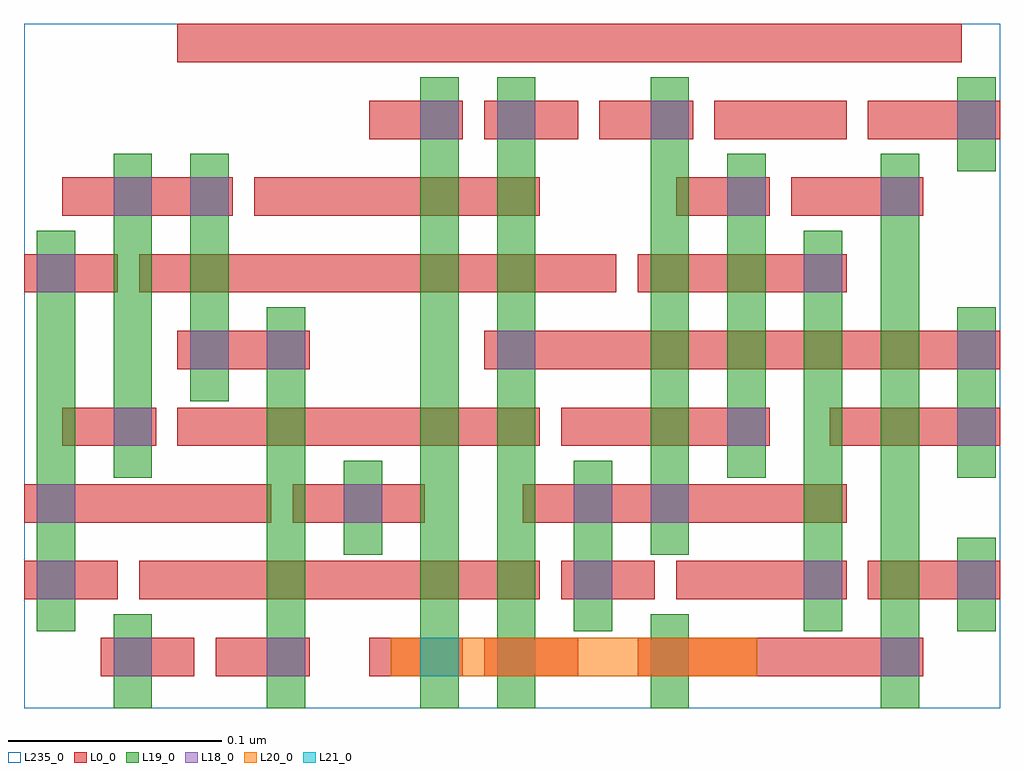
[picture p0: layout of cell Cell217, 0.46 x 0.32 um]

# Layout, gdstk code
import gdstk
lib = gdstk.Library(unit=1e-6, precision=2.5e-10)
def R(c, l, rs):  # rectangles x0, y0, x1, y1
    for r in rs: c.add(gdstk.rectangle(r[:2], r[2:], *l))
def A(c, l, x, y, w, h, nx, ny, dx, dy):  # array of equal rectangles
    R(c, l, [(x+i*dx, y+j*dy, x+i*dx+w, y+j*dy+h) for i in range(nx) for j in range(ny)])
L0_0 = (0, 0)
L18_0 = (18, 0)
L19_0 = (19, 0)
L20_0 = (20, 0)
L21_0 = (21, 0)
L235_0 = (235, 0)

cell217 = lib.new_cell('Cell217')
A(cell217, L0_0, 0.166, 0.251, 0.044, 0.018, 3, 1, 0.054, 0)
R(cell217, L0_0, [(0.04,-0.001,0.084,0.017), (0.094,-0.001,0.138,0.017), (0.166,-0.001,0.21,0.017), (0.22,-0.001,0.264,0.017), (0.292,-0.001,0.426,0.017), (0.004,0.035,0.048,0.053), (0.058,0.035,0.246,0.053), (0.256,0.035,0.3,0.053), (0.31,0.035,0.39,0.053), (0.4,0.035,0.462,0.053), (0.004,0.071,0.12,0.089), (0.13,0.071,0.192,0.089), (0.238,0.071,0.39,0.089), (0.022,0.107,0.066,0.125), (0.076,0.107,0.246,0.125), (0.256,0.107,0.354,0.125), (0.382,0.107,0.462,0.125), (0.076,0.143,0.138,0.161), (0.22,0.143,0.462,0.161), (0.004,0.179,0.048,0.197), (0.058,0.179,0.282,0.197), (0.292,0.179,0.39,0.197), (0.022,0.215,0.102,0.233), (0.112,0.215,0.246,0.233), (0.31,0.215,0.354,0.233), (0.364,0.215,0.426,0.233), (0.328,0.251,0.39,0.269), (0.4,0.251,0.462,0.269), (0.076,0.287,0.444,0.305)])
A(cell217, L18_0, 0.046, -0.001, 0.018, 0.018, 1, 3, 0, 0.108)
R(cell217, L18_0, [(0.118,-0.001,0.136,0.017), (0.226,-0.001,0.244,0.017), (0.298,-0.001,0.316,0.017), (0.406,-0.001,0.424,0.017), (0.01,0.035,0.028,0.053), (0.262,0.035,0.28,0.053), (0.37,0.035,0.388,0.053), (0.442,0.035,0.46,0.053), (0.01,0.071,0.028,0.089), (0.154,0.071,0.172,0.089), (0.262,0.071,0.28,0.089), (0.298,0.071,0.316,0.089), (0.334,0.107,0.352,0.125), (0.442,0.107,0.46,0.125), (0.082,0.143,0.1,0.161), (0.118,0.143,0.136,0.161), (0.226,0.143,0.244,0.161), (0.442,0.143,0.46,0.161), (0.01,0.179,0.028,0.197), (0.37,0.179,0.388,0.197), (0.082,0.215,0.1,0.233), (0.334,0.215,0.352,0.233), (0.406,0.215,0.424,0.233), (0.19,0.251,0.208,0.269), (0.226,0.251,0.244,0.269), (0.298,0.251,0.316,0.269), (0.442,0.251,0.46,0.269)])
R(cell217, L19_0, [(0.046,-0.016,0.064,0.028), (0.118,-0.016,0.136,0.172), (0.19,-0.016,0.208,0.28), (0.226,-0.016,0.244,0.28), (0.298,-0.016,0.316,0.028), (0.406,-0.016,0.424,0.244), (0.01,0.02,0.028,0.208), (0.262,0.02,0.28,0.1), (0.37,0.02,0.388,0.208), (0.442,0.02,0.46,0.064), (0.154,0.056,0.172,0.1), (0.298,0.056,0.316,0.28), (0.046,0.092,0.064,0.244), (0.334,0.092,0.352,0.244), (0.442,0.092,0.46,0.172), (0.082,0.128,0.1,0.244), (0.442,0.236,0.46,0.28)])
R(cell217, L20_0, [(0.176,-0.001,0.348,0.017)])
R(cell217, L21_0, [(0.19,-0.001,0.208,0.017)])
R(cell217, L235_0, [(0.004,-0.016,0.462,0.305)])

lib.write_gds('Cell217.gds')
